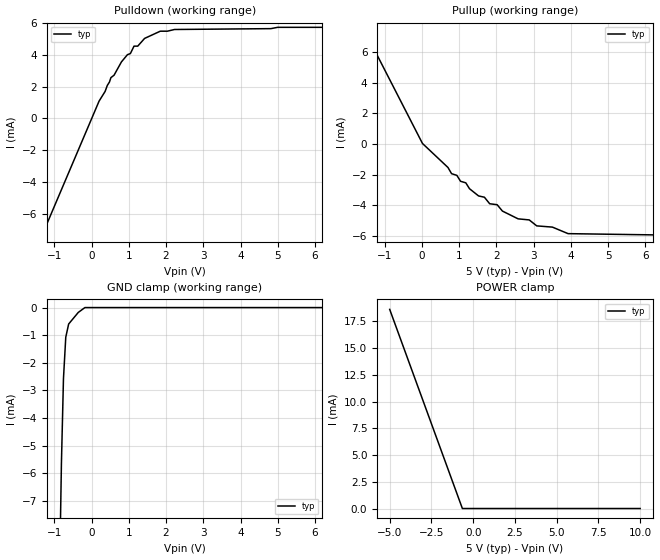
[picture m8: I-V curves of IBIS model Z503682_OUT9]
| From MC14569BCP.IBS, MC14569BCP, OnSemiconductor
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| (C) COPYRIGHT 1993-2000
| MENTOR GRAPHICS CORPORATION
| ICX STANDARD LIBRARY, ICX PROJECT MODELING,
| ICX CUSTOM MODELING, ICX VENDOR MODEL
| ALL RIGHTS RESERVED.
| THE FOLLOWING ARE TRADEMARKS OR SERVICE MARKS OF
| MENTOR GRAPHICS CORPORATION:ICX (R), ICX STANDARD
| LIBRARY(R), ICX PROJECT MODELING(R), ICX CUSTOM
| MODELING(R), qualityIBIS(TM), MODELVIEWER(TM),
| AND MODELEDITOR(TM)
| ALL COPIES OF SOFTWARE, INCLUDING BUT NOT LIMITED TO
| ANY MODIFICATIONS, ENHANCEMENTS OR DERIVATIVE WORKS,
| MUST CONTAIN ALL MENTOR GRAPHICS CORPORATION'S
| NOTICES AND LEGENDS, INCLUDING THOSE EMBEDDED IN
| SOFTWARE AND THOSE AFFIXED TO SOFTWARE MEDIUM
| AND CONTAINER, AS RECEIVED FROM MENTOR GRAPHICS
| CORPORATION.
| Model Application Version 1.89 2/18/99.
[Model] Z503682_OUT9
Model_type Output
Vref=0.000V
Rref=500.0Mohms
Cref=50.00pF
Vmeas=2.500V
C_comp 8.000pF NA NA
| variable typ   min   max
[Voltage Range] 5.000V NA NA
[POWER Clamp Reference] 5.000V NA NA
[Pullup Reference] 5.000V NA NA
[Pulldown Reference] 0.000V NA NA
[GND Clamp Reference] 0.000V NA NA
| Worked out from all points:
|   slope of the pulldown table from 0 to 0.75 V, typ, clamps not added: 223 ohm
|   slope of the pullup table from 0 to 0.75 V, typ, clamps not added: 405 ohm
|   GND clamp passes 1 mA (typ) near -0.68 V on its own axis
[GND Clamp]
-5V       -348.4mA   NA         NA
-810.1mV  -5.647mA   NA         NA
-755mV    -2.569mA   NA         NA
-693.1mV  -1.072mA   NA         NA
-615.7mV  -595uA     NA         NA
-357.8mV  -176.4uA   NA         NA
-178.9mV  0A         NA         NA
10V       0A         NA         NA
[Pulldown]
-5V       -27.62mA   NA         NA
202mV     1.093mA    NA         NA
363.4mV   1.701mA    NA         NA
519.4mV   2.571mA    NA         NA
603.2mV   2.723mA    NA         NA
801.8mV   3.562mA    NA         NA
1.042V    4.087mA    NA         NA
1.14V     4.556mA    NA         NA
1.24V     4.556mA    NA         NA
1.845V    5.498mA    NA         NA
4.999V    5.742mA    NA         NA
10V       5.742mA    NA         NA
[Pullup]
-5V       23.82mA    NA         NA
16mV      29.74uA    NA         NA
798mV     -1.946mA   NA         NA
1.821V    -3.912mA   NA         NA
2.021V    -3.974mA   NA         NA
2.164V    -4.391mA   NA         NA
2.585V    -4.899mA   NA         NA
2.884V    -4.969mA   NA         NA
3.085V    -5.358mA   NA         NA
3.506V    -5.439mA   NA         NA
3.927V    -5.866mA   NA         NA
10V       -6.081mA   NA         NA
[POWER Clamp]
-5V       18.61mA    NA         NA
-648mV    0A         NA         NA
10V       0A         NA         NA
[Ramp]
| variable typ min max
dV/dt_r 1.460/19.35n NA NA
dV/dt_f 1.460/22.80n NA NA
R_load = 500.0Ohms
